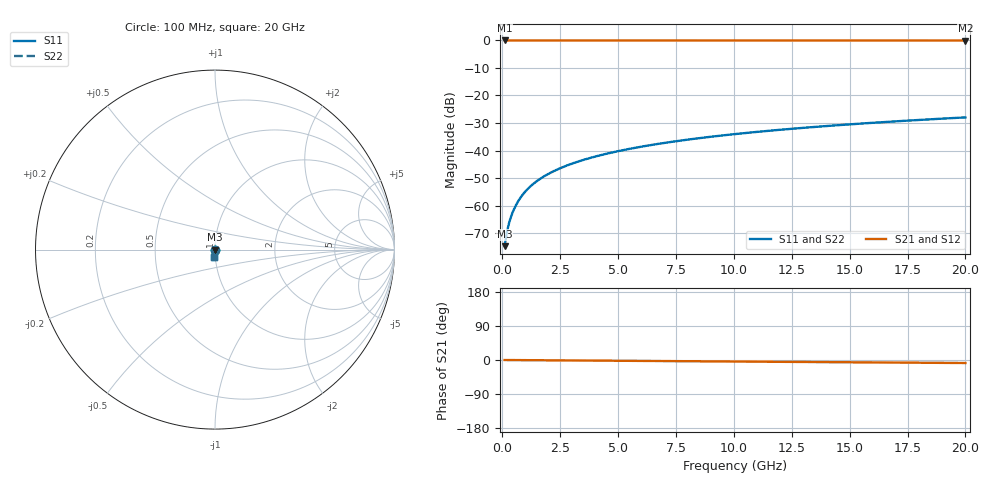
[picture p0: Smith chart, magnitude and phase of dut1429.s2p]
! Touchstone file exported from HFSS 2026.1.0
!  File:  C:/ffzhzh/LocalFiles/Ansys_Project_Files/temp_train_TSV_1429_1783197430_18472.aedt
!  Generated:  04:38:45 AM Jul  5, 2026
!  Design:  TSV
!  Project:  temp_train_TSV_1429_1783197430_18472
! Variables:
!  h_bsmrdl = 2um
!  h_ox = 20um
!  h_rdl = 5um
!  h_sub = 79.14um
!  h_tmrdl = 5um
!  h_tsv = 79.14um
!  h_via = 3um
!  l_bsmrdl = 300um
!  l_sub = 424.76um
!  l_tmrdl = 200um
!  m_sub = 200um
!  pitch = 38.18um
!  r_tsv = 12.38um
!  s_tmrdl = 10um
!  w_bsmrdl = 18um
!  w_sub = 500um
!  w_tmrdl = 12um
!  x_tsv_center1 = 206um
!  x_tsv_center2 = 524um
!  x_tsv_center3 = 736um
!  x_tsv_center4 = 1054um
!  x_tsv_center5 = 1266um
!  x_tsv_center6 = 1584um
# GHz S MA R 50.000000
! Terminal data exported
! Port[1] = TSV1_1_T1
! Port[2] = TSV1_1_T2
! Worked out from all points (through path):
!   200 points, 100 MHz to 20 GHz, reference 50 ohm
!   highest |S21| = 0.00 dB at 100 MHz (marker M1); lowest = 0.0 dB at 20 GHz (marker M2)
!   group delay of S21, straight-line fit = 1.11 ps
!   lowest |S11| = -74.8 dB at 100 MHz (marker M3), VSWR 1.00, Z = 50 - j0.0155 ohm
!   |S11| at or under -10 dB: start of sweep to end of sweep
!   |S22| runs from -74.8 to -28.0 dB; largest |S21 - S12| = 5.7e-15
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0.1  0.0001827 -57.8  0.9999 -0.0  0.9999 -0.0  0.0001827 -57.8
! Gamma 0 0 0 0
! Port Impedance 50 0 50 0
0.2  0.0003324 -70.4  0.9999 -0.1  0.9999 -0.1  0.0003324 -70.4
0.3  0.0004962 -74.5  0.9999 -0.1  0.9999 -0.1  0.0004962 -74.5
0.4  0.0006693 -76.5  0.9998 -0.2  0.9998 -0.2  0.0006693 -76.5
0.5  0.0008498 -77.7  0.9998 -0.2  0.9998 -0.2  0.0008498 -77.7
0.7  0.001226 -79.4  0.9998 -0.3  0.9998 -0.3  0.001226 -79.4
0.8  0.00142 -80.1  0.9997 -0.3  0.9997 -0.3  0.00142 -80.1
1  0.001811 -81.3  0.9997 -0.4  0.9997 -0.4  0.001811 -81.3
1.2  0.002204 -82.3  0.9997 -0.5  0.9997 -0.5  0.002204 -82.3
1.4  0.002599 -83.1  0.9997 -0.6  0.9997 -0.6  0.002599 -83.1
1.7  0.003191 -84.1  0.9996 -0.7  0.9996 -0.7  0.003191 -84.1
2  0.003783 -84.9  0.9996 -0.8  0.9996 -0.8  0.003783 -84.9
2.7  0.005164 -86.2  0.9995 -1.1  0.9995 -1.1  0.005164 -86.2
3.5  0.006746 -87.2  0.9995 -1.4  0.9995 -1.4  0.006746 -87.2
4.2  0.008137 -87.9  0.9994 -1.7  0.9994 -1.7  0.008137 -87.9
5  0.009732 -88.5  0.9994 -2.0  0.9994 -2.0  0.009732 -88.5
6.8  0.01334 -89.7  0.9992 -2.7  0.9992 -2.7  0.01334 -89.7
8.3  0.01636 -90.6  0.9991 -3.3  0.9991 -3.3  0.01636 -90.6
10.1  0.01999 -91.6  0.9989 -4.0  0.9989 -4.0  0.01999 -91.6
13.4  0.02665 -93.2  0.9987 -5.4  0.9987 -5.4  0.02665 -93.2
16.7  0.03332 -94.8  0.9983 -6.7  0.9983 -6.7  0.03332 -94.8
20  0.03999 -96.2  0.998 -8.0  0.998 -8.0  0.03999 -96.2
